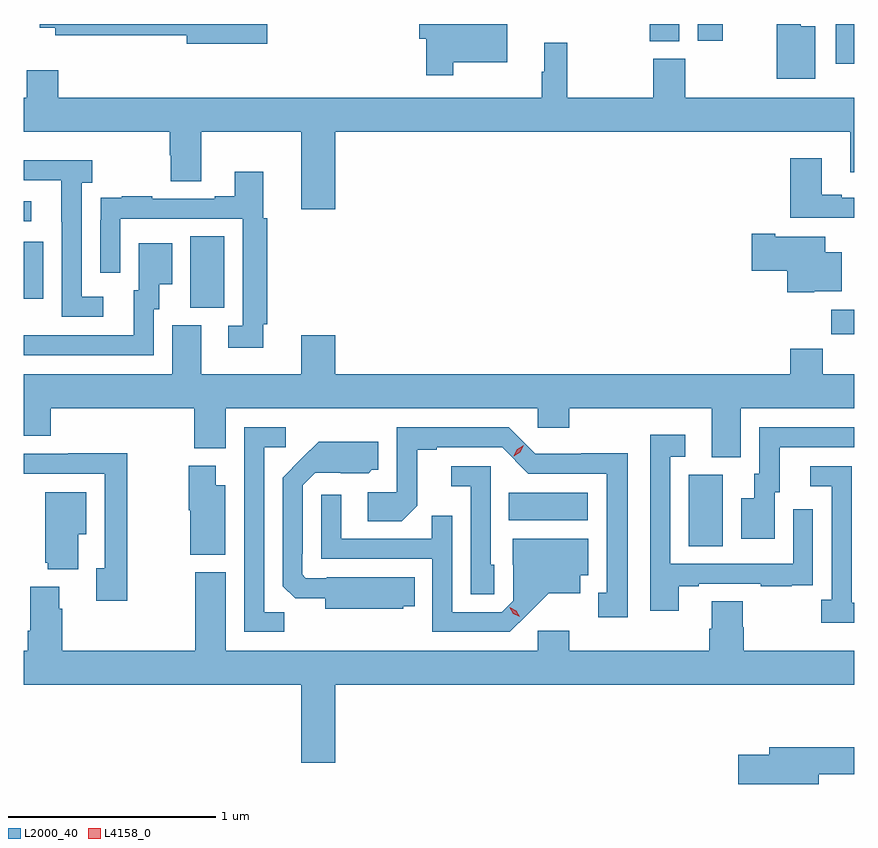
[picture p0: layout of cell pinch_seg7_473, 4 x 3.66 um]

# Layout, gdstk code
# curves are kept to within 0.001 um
import gdstk
lib = gdstk.Library(unit=1e-6, precision=1e-09)
def R(c, l, rs):  # rectangles x0, y0, x1, y1
    for r in rs: c.add(gdstk.rectangle(r[:2], r[2:], *l))
def P(c, l, *ps):  # polygons
    for p in ps: c.add(gdstk.Polygon(p, *l))
L2000_40 = (2000, 40)
L4158_0 = (4158, 0)

pinch_seg7_473 = lib.new_cell('pinch_seg7_473')
R(pinch_seg7_473, L2000_40, [(178.862,1074.544,179.026,1074.888), (177.994,1074.668,178.375,1074.802), (179.548,1075.566,179.659,1075.684), (176.462,1075.693,176.626,1076.036), (175.659,1075.737,175.753,1076.011), (175.659,1076.109,175.696,1076.205), (179.57,1076.868,179.659,1077.059), (178.675,1076.977,178.816,1077.059), (178.904,1076.979,179.026,1077.059)])
P(pinch_seg7_473, L2000_40, [(176.833,1077.059),(175.736,1077.059),(175.736,1077.041),(175.812,1077.041),(175.812,1077.006),(176.444,1077.006),(176.444,1076.963),(176.833,1076.963)],
  [(179.47,1077.049),(179.401,1077.049),(179.401,1077.059),(179.285,1077.059),(179.285,1076.795),(179.47,1076.795)],
  [(177.727,1076.876),(177.988,1076.876),(177.988,1077.059),(177.564,1077.059),(177.564,1076.987),(177.598,1076.987),(177.598,1076.811),(177.727,1076.811)],
  [(177.16,1076.54),(179.639,1076.54),(179.639,1076.346),(179.659,1076.346),(179.659,1076.704),(178.845,1076.704),(178.845,1076.892),(178.69,1076.892),(178.69,1076.704),(178.276,1076.704),(178.276,1076.968),(178.166,1076.968),(178.166,1076.828),(178.155,1076.828),(178.155,1076.704),(175.826,1076.704),(175.826,1076.836),(175.674,1076.836),(175.674,1076.704),(175.659,1076.704),(175.659,1076.54),(176.363,1076.54),(176.363,1076.427),(176.368,1076.427),(176.368,1076.302),(176.515,1076.302),(176.515,1076.54),(176.996,1076.54),(176.996,1076.166),(177.16,1076.166)],
  [(179.659,1076.223),(179.599,1076.223),(179.599,1076.236),(179.503,1076.236),(179.503,1076.413),(179.351,1076.413),(179.351,1076.126),(179.659,1076.126)],
  [(176.041,1075.746),(175.938,1075.746),(175.938,1076.294),(175.99,1076.294),(175.99,1076.404),(175.659,1076.404),(175.659,1076.307),(175.841,1076.307),(175.841,1076.107),(175.842,1076.107),(175.842,1075.65),(176.041,1075.65)],
  [(176.813,1075.612),(176.831,1075.612),(176.831,1076.124),(176.813,1076.124),(176.813,1076.347),(176.675,1076.347),(176.675,1076.23),(176.579,1076.23),(176.579,1076.217),(176.279,1076.217),(176.279,1076.23),(176.131,1076.23),(176.131,1076.223),(176.029,1076.223),(176.029,1076.114),(176.028,1076.114),(176.028,1075.86),(176.124,1075.86),(176.124,1076.121),(176.715,1076.121),(176.715,1075.605),(176.643,1075.605),(176.643,1075.5),(176.813,1075.5)],
  [(179.466,1075.772),(179.599,1075.772),(179.599,1075.96),(179.518,1075.96),(179.518,1076.035),(179.278,1076.035),(179.278,1076.048),(179.166,1076.048),(179.166,1075.87),(179.336,1075.87),(179.336,1075.766),(179.466,1075.766)],
  [(176.286,1075.686),(176.311,1075.686),(176.311,1075.805),(176.374,1075.805),(176.374,1076.002),(176.213,1076.002),(176.213,1075.776),(176.189,1075.776),(176.189,1075.56),(175.705,1075.56),(175.705,1075.561),(175.659,1075.561),(175.659,1075.464),(176.286,1075.464)],
  [(179.113,1075.208),(179.659,1075.208),(179.659,1075.372),(179.507,1075.372),(179.507,1075.496),(179.351,1075.496),(179.351,1075.372),(177.16,1075.372),(177.16,1075.561),(176.996,1075.561),(176.996,1075.372),(176.515,1075.372),(176.515,1075.608),(176.375,1075.608),(176.375,1075.372),(175.659,1075.372),(175.659,1075.075),(175.79,1075.075),(175.79,1075.208),(176.48,1075.208),(176.48,1075.016),(176.632,1075.016),(176.632,1075.208),(178.134,1075.208),(178.134,1075.115),(178.286,1075.115),(178.286,1075.208),(178.973,1075.208),(178.973,1074.973),(179.113,1074.973)],
  [(179.275,1074.804),(179.299,1074.804),(179.299,1075.02),(179.659,1075.02),(179.659,1075.116),(179.202,1075.116),(179.202,1074.894),(179.177,1074.894),(179.177,1074.775),(179.114,1074.775),(179.114,1074.579),(179.275,1074.579)],
  [(176.913,1074.227),(176.817,1074.227),(176.817,1075.02),(176.92,1075.02),(176.92,1075.116),(176.721,1075.116),(176.721,1074.132),(176.913,1074.132)],
  [(178.567,1074.992),(178.344,1074.992),(178.344,1074.99),(178.122,1074.99),(177.996,1075.116),(177.456,1075.116),(177.456,1074.804),(177.315,1074.804),(177.315,1074.664),(177.479,1074.664),(177.555,1074.74),(177.555,1075.008),(177.649,1075.008),(177.649,1075.02),(177.963,1075.02),(178.089,1074.894),(178.466,1074.894),(178.466,1074.321),(178.427,1074.321),(178.427,1074.201),(178.567,1074.201)],
  [(178.813,1074.351),(178.909,1074.351),(178.909,1074.363),(179.209,1074.363),(179.209,1074.351),(179.357,1074.351),(179.357,1074.357),(179.459,1074.357),(179.459,1074.466),(179.46,1074.466),(179.46,1074.721),(179.364,1074.721),(179.364,1074.459),(178.773,1074.459),(178.773,1074.975),(178.846,1074.975),(178.846,1075.081),(178.677,1075.081),(178.677,1074.234),(178.813,1074.234)],
  [(177.486,1074.254),(177.542,1074.254),(177.542,1074.394),(177.118,1074.394),(177.118,1074.39),(177.018,1074.39),(177,1074.408),(177,1074.508),(177.003,1074.508),(177.003,1074.837),(177.063,1074.897),(177.32,1074.896),(177.336,1074.912),(177.367,1074.912),(177.367,1075.048),(177.079,1075.048),(176.907,1074.874),(176.907,1074.352),(176.966,1074.293),(177.11,1074.293),(177.11,1074.242),(177.486,1074.242)],
  [(176.158,1074.992),(175.873,1074.992),(175.873,1074.99),(175.659,1074.99),(175.659,1074.894),(176.049,1074.894),(176.049,1074.438),(176.009,1074.438),(176.009,1074.282),(176.158,1074.282)],
  [(176.629,1074.838),(176.584,1074.838),(176.584,1074.931),(176.455,1074.931),(176.455,1074.717),(176.462,1074.717),(176.462,1074.503),(176.629,1074.503)],
  [(179.659,1074.273),(179.647,1074.273),(179.647,1074.473),(179.646,1074.473),(179.646,1074.93),(179.448,1074.93),(179.448,1074.834),(179.55,1074.834),(179.55,1074.286),(179.499,1074.286),(179.499,1074.176),(179.659,1074.176)],
  [(177.924,1074.456),(177.909,1074.456),(177.909,1074.93),(177.717,1074.93),(177.717,1074.833),(177.813,1074.833),(177.813,1074.313),(177.924,1074.313)],
  [(175.921,1074.602),(175.96,1074.602),(175.96,1074.805),(175.763,1074.805),(175.763,1074.465),(175.775,1074.465),(175.775,1074.434),(175.921,1074.434)],
  [(178.084,1074.215),(178.187,1074.317),(178.339,1074.317),(178.339,1074.404),(178.378,1074.404),(178.378,1074.58),(178.013,1074.58),(178.013,1074.456),(178.017,1074.456),(178.017,1074.282),(177.96,1074.225),(177.723,1074.225),(177.723,1074.692),(177.625,1074.692),(177.625,1074.579),(177.189,1074.579),(177.189,1074.793),(177.093,1074.793),(177.093,1074.483),(177.627,1074.483),(177.627,1074.132),(178,1074.132)],
  [(177.16,1073.876),(179.659,1073.876),(179.659,1074.04),(179.126,1074.04),(179.126,1074.153),(179.121,1074.153),(179.121,1074.278),(178.973,1074.278),(178.973,1074.146),(178.961,1074.146),(178.961,1074.04),(178.286,1074.04),(178.286,1074.136),(178.134,1074.136),(178.134,1074.04),(176.632,1074.04),(176.632,1074.418),(176.485,1074.418),(176.485,1074.04),(175.844,1074.04),(175.844,1074.242),(175.831,1074.242),(175.831,1074.349),(175.691,1074.349),(175.691,1074.136),(175.679,1074.136),(175.679,1074.04),(175.659,1074.04),(175.659,1073.876),(176.996,1073.876),(176.996,1073.502),(177.16,1073.502)],
  [(179.488,1073.446),(179.659,1073.446),(179.659,1073.575),(179.249,1073.575),(179.249,1073.541),(179.1,1073.541),(179.1,1073.399),(179.488,1073.399)])
P(pinch_seg7_473, L4158_0, [(178.018,1074.978),(178.018,1074.979),(178.035,1075.011),(178.067,1075.03),(178.067,1075.03),(178.067,1075.03),(178.05,1074.997),(178.018,1074.978)],
  [(178.048,1074.204),(178.017,1074.219),(178,1074.248),(178,1074.249),(178,1074.249),(178.031,1074.234),(178.048,1074.204),(178.048,1074.204)])

lib.write_gds('pinch_seg7_473.gds')
